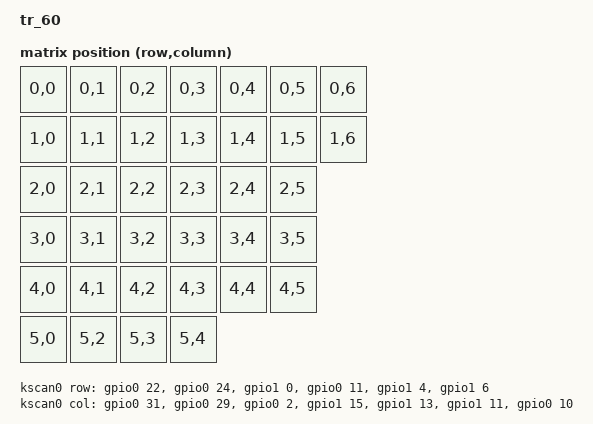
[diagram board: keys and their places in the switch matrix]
/*
 * Copyright (c) 2023 Srishtik Bhandarkar
 *
 * SPDX-License-Identifier: MIT
 */

/dts-v1/;
#include <nordic/nrf52840_qiaa.dtsi>
#include <dt-bindings/zmk/matrix_transform.h>

/ {
    model = "tr_60";
    compatible = "tr60";

    chosen {
        zephyr,code-partition = &code_partition;
        zephyr,sram = &sram0;
        zephyr,flash = &flash0;
        zephyr,console = &cdc_acm_uart;
        zmk,battery = &vbatt;
        zmk,kscan = &kscan0;
        zmk,matrix_transform = &default_transform;
    };

    default_transform: keymap_transform_0 {
        compatible = "zmk,matrix-transform";
        columns = <7>;
        rows = <6>;
        map = <
        RC(0,0) RC(0,1) RC(0,2) RC(0,3) RC(0,4) RC(0,5) RC(0,6) 
        RC(1,0) RC(1,1) RC(1,2) RC(1,3) RC(1,4) RC(1,5) RC(1,6) 
        RC(2,0) RC(2,1) RC(2,2) RC(2,3) RC(2,4) RC(2,5) 
        RC(3,0) RC(3,1) RC(3,2) RC(3,3) RC(3,4) RC(3,5) 
        RC(4,0) RC(4,1) RC(4,2) RC(4,3) RC(4,4) RC(4,5) 
        RC(5,0) RC(5,2) RC(5,3) RC(5,4)
        >;
    };

    kscan0: kscan {
        compatible = "zmk,kscan-gpio-matrix";
        label = "KSCAN";

        diode-direction = "col2row";
        row-gpios
        = <&gpio0 22 (GPIO_ACTIVE_HIGH | GPIO_PULL_DOWN)>  //row0
        , <&gpio0 24 (GPIO_ACTIVE_HIGH | GPIO_PULL_DOWN)>  //row1
        , <&gpio1 0 (GPIO_ACTIVE_HIGH | GPIO_PULL_DOWN)>  //row2
        , <&gpio0 11  (GPIO_ACTIVE_HIGH | GPIO_PULL_DOWN)>  //row3
        , <&gpio1 4  (GPIO_ACTIVE_HIGH | GPIO_PULL_DOWN)>  //row4
        , <&gpio1 6  (GPIO_ACTIVE_HIGH | GPIO_PULL_DOWN)>  //row4
        ;
        
        col-gpios
        = <&gpio0 31  (GPIO_ACTIVE_HIGH)>  //col0
        , <&gpio0 29 (GPIO_ACTIVE_HIGH)>  //col1
        , <&gpio0 2  (GPIO_ACTIVE_HIGH)>  //col2
        , <&gpio1 15 (GPIO_ACTIVE_HIGH)>  //col3
        , <&gpio1 13 (GPIO_ACTIVE_HIGH)>  //col4
        , <&gpio1 11 (GPIO_ACTIVE_HIGH)>  //col5
        , <&gpio0 10 (GPIO_ACTIVE_HIGH)>  //col6
        ;
    };

    vbatt: vbatt {
        compatible = "zmk,battery-voltage-divider";
        label = "BATTERY";
        io-channels = <&adc 0>;
        output-ohms = <10000>;
        full-ohms = <(10000 + 10000)>;
    };
};

&adc {
    status = "okay";
};

&gpiote {
    status = "okay";
};

&gpio0 {
    status = "okay";
};

&gpio1 {
    status = "okay";
};

&usbd {
    status = "okay";
    cdc_acm_uart: cdc_acm_uart {
        compatible = "zephyr,cdc-acm-uart";
        label = "CDC_ACM_0";
    };
};


&flash0 {
    /*
     * For more information, see:
     * http: //docs.zephyrproject.org/latest/devices/dts/flash_partitions.html
     */
    partitions {
        compatible = "fixed-partitions";
        #address-cells = <1>;
        #size-cells = <1>;

        sd_partition: partition@0 {
            label = "mbr";
            reg = <0x00000000 0x00001000>;
        };

        code_partition: partition@1000 {
            label = "code_partition";
            reg = <0x00001000 0x000d3000>;
        };

        /*
         * The flash starting at 0x000d4000 and ending at
         * 0x000f3fff is reserved for use by the application.
         */

        /*
         * Storage partition will be used by FCB/LittleFS/NVS
         * if enabled.
         */
        storage_partition: partition@d4000 {
            label = "storage";
            reg = <0x000d4000 0x00020000>;
        };

        boot_partition: partition@f4000 {
            label = "adafruit_boot";
            reg = <0x000f4000 0x0000c000>;
        };
    };
};
